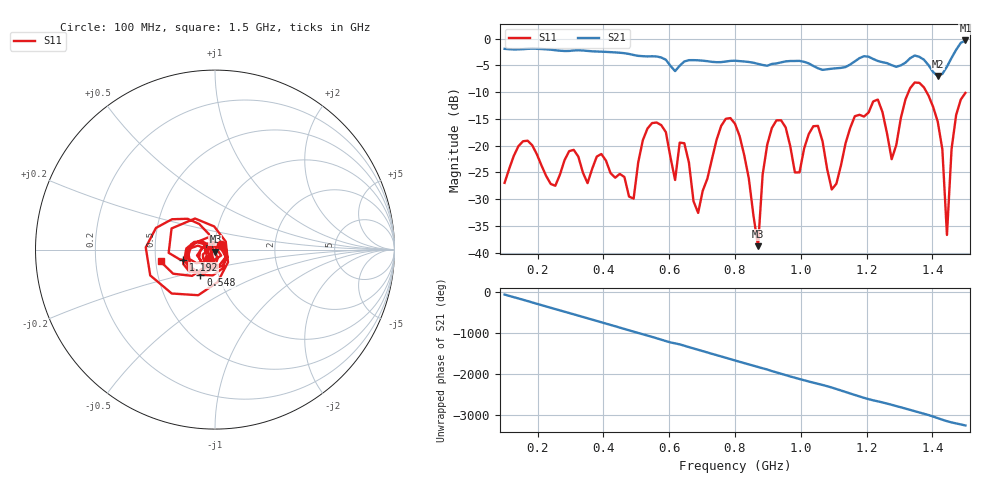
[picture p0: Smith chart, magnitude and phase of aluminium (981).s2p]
! NanoVNA-App
! Date: 2025-09-25 15:02:55
! Start: 100MHz Stop: 1,5GHz Points: 101
! S-Parameter data: F S11 S21 S12 S22
# Hz S RI R 50
!  Frequency  S11_Real  S11_Imag  S21_Real  S21_Imag  S12_Real  S12_Imag  S22_Real  S22_Imag
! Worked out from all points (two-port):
!   101 points, 100 MHz to 1.5 GHz, reference 50 ohm
!   highest |S21| = -0.35 dB at 1.5 GHz (marker M1); lowest = -7.0 dB at 1.416 GHz (marker M2)
!   |S21| within 3 dB of the highest: start of sweep to 562.4 MHz; 1.46 GHz to end of sweep (the widest 2 of 4)
!   lowest |S11| = -38.8 dB at 870 MHz (marker M3), VSWR 1.02, Z = 50.2 - j1.13 ohm
!   |S11| at or under -10 dB: start of sweep to 1.327 GHz; 1.382 GHz to end of sweep
!   S12 and S22 are empty: the file has one direction only
!   S11 on the Smith chart (normalised r, x): 100 MHz: 1.07, +0.06; 548 MHz: 0.82, -0.24; 1.192 GHz: 0.69, -0.08; 1.5 GHz: 0.53, -0.08
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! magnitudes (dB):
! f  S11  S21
! 100 MHz  -27.0  -1.9
! 156 MHz  -19.2  -2.0
! 338 MHz  -25.1  -2.2
! 492 MHz  -29.9  -3.1
! 548 MHz  -15.8  -3.3
! 576 MHz  -16.2  -3.5
! 646 MHz  -19.6  -4.3
! 688 MHz  -32.6  -4.1
! 800 MHz  -15.9  -4.1
! 870 MHz  -38.8  -4.7
! 912 MHz  -16.7  -4.7
! 996 MHz  -25.0  -4.2
! 1.038 GHz  -16.4  -5.1
! 1.094 GHz  -28.2  -5.6
! 1.192 GHz  -14.6  -3.3
! 1.234 GHz  -11.4  -4.2
! 1.276 GHz  -22.5  -5.0
! 1.346 GHz  -8.2  -3.2
! 1.416 GHz  -15.5  -7.0
! 1.444 GHz  -36.7  -5.2
! 1.458 GHz  -20.6  -3.6
! 1.5 GHz  -10.2  -0.4
